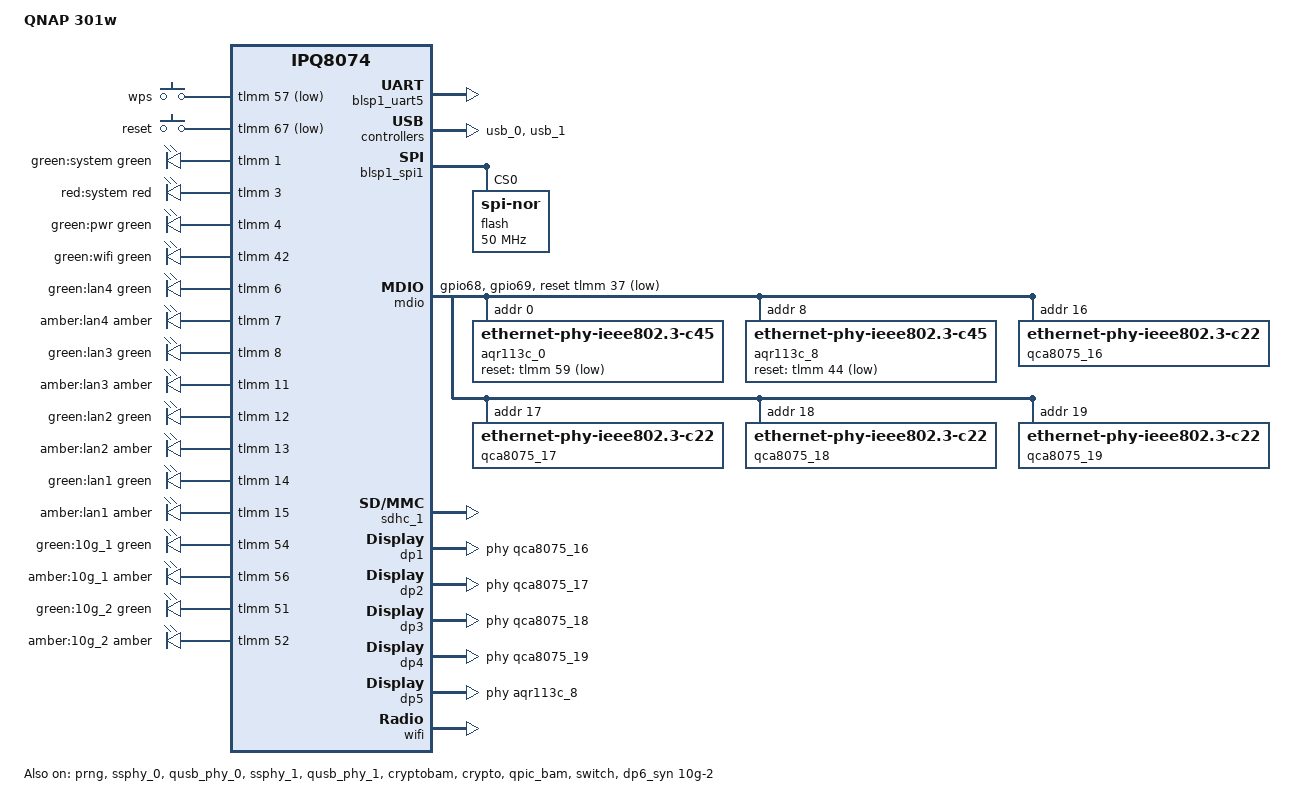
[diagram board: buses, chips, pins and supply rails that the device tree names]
// SPDX-License-Identifier: GPL-2.0-or-later OR MIT
/* Copyright (c) 2021, Dirk Buchwalder <buchwalder@posteo.de> */

/dts-v1/;

#include "ipq8074.dtsi"
#include "ipq8074-hk-cpu.dtsi"
#include "ipq8074-ess.dtsi"
#include "ipq8074-nss.dtsi"
#include <dt-bindings/gpio/gpio.h>
#include <dt-bindings/input/input.h>
#include <dt-bindings/leds/common.h>

/ {
	model = "QNAP 301w";
	compatible = "qnap,301w", "qcom,ipq8074";

	aliases {
		serial0 = &blsp1_uart5;
		/*
		 * Aliases as required by u-boot
		 * to patch MAC addresses
		 */
		led-boot = &led_system_red;
		led-failsafe = &led_system_red;
		led-running = &led_pwr_green;
		led-upgrade = &led_system_red;
		ethernet0 = &dp1;
		ethernet1 = &dp2;
		ethernet2 = &dp3;
		ethernet3 = &dp4;
		ethernet4 = &dp5;
		ethernet5 = &dp6_syn;
		label-mac-device = &dp1;
	};

	chosen {
		stdout-path = "serial0:115200n8";
	};

	keys {
		compatible = "gpio-keys";
		pinctrl-0 = <&button_pins>;
		pinctrl-names = "default";

		wps-button {
			label = "wps";
			gpios = <&tlmm 57 GPIO_ACTIVE_LOW>;
			linux,code = <KEY_WPS_BUTTON>;
		};

		reset-button {
			label = "reset";
			gpios = <&tlmm 67 GPIO_ACTIVE_LOW>;
			linux,code = <KEY_RESTART>;
		};
	};

	leds {
		compatible = "gpio-leds";
		pinctrl-0 = <&leds_pins>;
		pinctrl-names = "default";

		led_system_green: led-system-green {
			label = "green:system";
			gpios = <&tlmm 1 GPIO_ACTIVE_HIGH>;
			color = <LED_COLOR_ID_GREEN>;
		};

		led_system_red: led-system-red {
			label = "red:system";
			gpios = <&tlmm 3 GPIO_ACTIVE_HIGH>;
			color = <LED_COLOR_ID_RED>;
		};

		led_pwr_green: led-pwr-green {
			label = "green:pwr";
			gpios = <&tlmm 4 GPIO_ACTIVE_HIGH>;
			color = <LED_COLOR_ID_GREEN>;
		};

		led-wifi-green {
			label = "green:wifi";
			gpios = <&tlmm 42 GPIO_ACTIVE_HIGH>;
			color = <LED_COLOR_ID_GREEN>;
		};

		led-lan4-green {
			label = "green:lan4";
			gpios = <&tlmm 6 GPIO_ACTIVE_HIGH>;
			color = <LED_COLOR_ID_GREEN>;
		};

		led-lan4-amber {
			label = "amber:lan4";
			gpios = <&tlmm 7 GPIO_ACTIVE_HIGH>;
			color = <LED_COLOR_ID_AMBER>;
		};

		led-lan3-green {
			label = "green:lan3";
			gpios = <&tlmm 8 GPIO_ACTIVE_HIGH>;
			color = <LED_COLOR_ID_GREEN>;
		};

		led-lan3-amber {
			label = "amber:lan3";
			gpios = <&tlmm 11 GPIO_ACTIVE_HIGH>;
			color = <LED_COLOR_ID_AMBER>;
		};

		led-lan2-green {
			label = "green:lan2";
			gpios = <&tlmm 12 GPIO_ACTIVE_HIGH>;
			color = <LED_COLOR_ID_GREEN>;
		};

		led-lan2-amber {
			label = "amber:lan2";
			gpios = <&tlmm 13 GPIO_ACTIVE_HIGH>;
			color = <LED_COLOR_ID_AMBER>;
		};

		led-lan1-green {
			label = "green:lan1";
			gpios = <&tlmm 14 GPIO_ACTIVE_HIGH>;
			color = <LED_COLOR_ID_GREEN>;
		};

		led-lan1-amber {
			label = "amber:lan1";
			gpios = <&tlmm 15 GPIO_ACTIVE_HIGH>;
			color = <LED_COLOR_ID_AMBER>;
		};

		led-10g-1-green {
			label = "green:10g_1";
			gpios = <&tlmm 54 GPIO_ACTIVE_HIGH>;
			color = <LED_COLOR_ID_GREEN>;
		};

		led-10g-1-amber {
			label = "amber:10g_1";
			gpios = <&tlmm 56 GPIO_ACTIVE_HIGH>;
			color = <LED_COLOR_ID_AMBER>;
		};

		led-10g-2-green {
			label = "green:10g_2";
			gpios = <&tlmm 51 GPIO_ACTIVE_HIGH>;
			color = <LED_COLOR_ID_GREEN>;
		};

		led-10g-2-amber {
			label = "amber:10g_2";
			gpios = <&tlmm 52 GPIO_ACTIVE_HIGH>;
			color = <LED_COLOR_ID_AMBER>;
		};
	};
};

&tlmm {
	mdio_pins: mdio-state {
		mdc-pins {
			pins = "gpio68";
			function = "mdc";
			drive-strength = <8>;
			bias-pull-up;
		};

		mdio-pins {
			pins = "gpio69";
			function = "mdio";
			drive-strength = <8>;
			bias-pull-up;
		};
	};

	button_pins: button-state {
		wps-pins {
			pins = "gpio57";
			function = "gpio";
			drive-strength = <8>;
			bias-pull-up;
		};

		rst-pins {
			pins = "gpio67";
			function = "gpio";
			drive-strength = <8>;
			bias-pull-up;
		};
	};

	leds_pins: leds-state {
		pins = "gpio1", "gpio3", "gpio4", "gpio6", "gpio7", "gpio8",
		       "gpio11", "gpio12", "gpio13", "gpio14", "gpio15", "gpio42",
		       "gpio51", "gpio52", "gpio54", "gpio56";
		function = "gpio";
		drive-strength = <8>;
		bias-pull-down;
	};
};

&blsp1_uart5 {
	status = "okay";
};

&prng {
	status = "okay";
};

&ssphy_0 {
	status = "okay";
};

&qusb_phy_0 {
	status = "okay";
};

&ssphy_1 {
	status = "okay";
};

&qusb_phy_1 {
	status = "okay";
};

&usb_0 {
	status = "okay";
};

&usb_1 {
	status = "okay";
};

&cryptobam {
	status = "okay";
};

&crypto {
	status = "okay";
};

&qpic_bam {
	status = "okay";
};

&blsp1_spi1 {
	pinctrl-0 = <&spi_0_pins>;
	pinctrl-names = "default";
	cs-gpios = <0>;
	status = "okay";

	flash@0 {
		#address-cells = <1>;
		#size-cells = <1>;
		reg = <0>;
		compatible = "jedec,spi-nor";
		spi-max-frequency = <50000000>;

		partitions {
			compatible = "qcom,smem-part";
		};
	};
};

&mdio {
	status = "okay";

	pinctrl-0 = <&mdio_pins>;
	pinctrl-names = "default";
	reset-gpios = <&tlmm 37 GPIO_ACTIVE_LOW>;

	aqr113c_0: ethernet-phy@0 {
		compatible ="ethernet-phy-ieee802.3-c45";
		reg = <0>;
		reset-gpios = <&tlmm 59 GPIO_ACTIVE_LOW>;
	};

	aqr113c_8: ethernet-phy@8 {
		compatible ="ethernet-phy-ieee802.3-c45";
		reg = <8>;
		reset-gpios = <&tlmm 44 GPIO_ACTIVE_LOW>;
	};

	qca8075_16: ethernet-phy@16 {
		compatible = "ethernet-phy-ieee802.3-c22";
		reg = <16>;
	};

	qca8075_17: ethernet-phy@17 {
		compatible = "ethernet-phy-ieee802.3-c22";
		reg = <17>;
	};

	qca8075_18: ethernet-phy@18 {
		compatible = "ethernet-phy-ieee802.3-c22";
		reg = <18>;
	};

	qca8075_19: ethernet-phy@19 {
		compatible = "ethernet-phy-ieee802.3-c22";
		reg = <19>;
	};
};

&sdhc_1 {
	status = "okay";

	/* According to the stock dts from the QNAP gpl drop
	 * the emmc has a problem with the hs400 > hs200 speed switch.
	 * Therefore remove the mmc-hs400-1_8v property
	*/
	/delete-property/ mmc-hs400-1_8v;
	mmc-hs200-1_8v;
	mmc-ddr-1_8v;
	vqmmc-supply = <&l11>;
};

&switch {
	status = "okay";

	switch_cpu_bmp = <0x1>;  /* cpu port bitmap */
	switch_lan_bmp = <0x3e>; /* lan port bitmap */
	switch_wan_bmp = <0xc0>; /* wan port bitmap */
	switch_mac_mode = <0xb>; /* mac mode for uniphy instance0*/
	switch_mac_mode1 = <0xd>; /* mac mode for uniphy instance1*/
	switch_mac_mode2 = <0xd>; /* mac mode for uniphy instance2*/
	bm_tick_mode = <0>; /* bm tick mode */
	tm_tick_mode = <0>; /* tm tick mode */

	qcom,port_phyinfo {
		port@0 {
			port_id = <1>;
			phy_address = <16>;
		};
		port@1 {
			port_id = <2>;
			phy_address = <17>;
		};
		port@2 {
			port_id = <3>;
			phy_address = <18>;
		};
		port@3 {
			port_id = <4>;
			phy_address = <19>;
		};
		port@4 {
			port_id = <5>;
			phy_address = <8>;
			compatible = "ethernet-phy-ieee802.3-c45";
			ethernet-phy-ieee802.3-c45;
		};
		port@5 {
			port_id = <6>;
			phy_address = <0>;
			compatible = "ethernet-phy-ieee802.3-c45";
			ethernet-phy-ieee802.3-c45;
		};
	};
};

&edma {
	status = "okay";
};

&dp1 {
	status = "okay";
	phy-handle = <&qca8075_16>;
	label = "lan4";
};

&dp2 {
	status = "okay";
	phy-handle = <&qca8075_17>;
	label = "lan3";
};

&dp3 {
	status = "okay";
	phy-handle = <&qca8075_18>;
	label = "lan2";
};

&dp4 {
	status = "okay";
	phy-handle = <&qca8075_19>;
	label = "lan1";
};

&dp5 {
	status = "okay";
	qcom,mactype = <1>;
	phy-handle = <&aqr113c_8>;
	label = "10g-1";
};

&dp6_syn {
	status = "okay";
	phy-handle = <&aqr113c_0>;
	label = "10g-2";
};

&wifi {
	status = "okay";

	qcom,ath11k-calibration-variant = "QNAP-301w";
};
